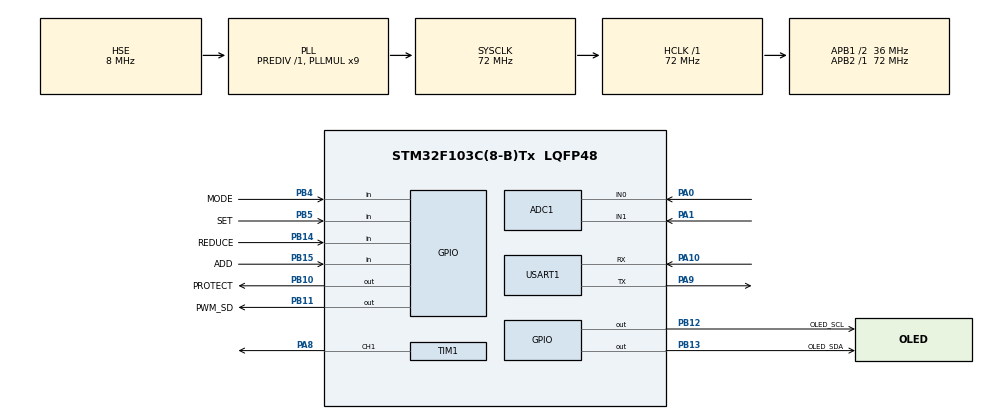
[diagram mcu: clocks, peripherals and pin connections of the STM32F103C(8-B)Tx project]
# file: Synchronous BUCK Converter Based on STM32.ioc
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ADC1.Channel-0\#ChannelRegularConversion=ADC_CHANNEL_0
ADC1.Channel-1\#ChannelRegularConversion=ADC_CHANNEL_1
ADC1.ContinuousConvMode=ENABLE
ADC1.DataAlign=ADC_DATAALIGN_RIGHT
ADC1.NbrOfConversion=2
ADC1.NbrOfConversionFlag=1
ADC1.Rank-0\#ChannelRegularConversion=1
ADC1.Rank-1\#ChannelRegularConversion=2
ADC1.SamplingTime-0\#ChannelRegularConversion=ADC_SAMPLETIME_239CYCLES_5
ADC1.SamplingTime-1\#ChannelRegularConversion=ADC_SAMPLETIME_239CYCLES_5
ADC1.master=1
Dma.ADC1.0.Direction=DMA_PERIPH_TO_MEMORY
Dma.ADC1.0.Instance=DMA1_Channel1
Dma.ADC1.0.MemDataAlignment=DMA_MDATAALIGN_HALFWORD
Dma.ADC1.0.MemInc=DMA_MINC_ENABLE
Dma.ADC1.0.Mode=DMA_CIRCULAR
Dma.ADC1.0.PeriphDataAlignment=DMA_PDATAALIGN_HALFWORD
Dma.ADC1.0.PeriphInc=DMA_PINC_DISABLE
Dma.ADC1.0.Priority=DMA_PRIORITY_HIGH
Dma.Request0=ADC1
Mcu.Family=STM32F1
Mcu.Name=STM32F103C(8-B)Tx
Mcu.Package=LQFP48
NVIC.DMA1_Channel1_IRQn=true\:0\:0\:false\:false\:true\:false\:true\:true
NVIC.PriorityGroup=NVIC_PRIORITYGROUP_4
NVIC.TIM1_UP_IRQn=true\:1\:0\:true\:false\:true\:true\:true\:true
PA0-WKUP.Signal=ADCx_IN0
PA1.Signal=ADCx_IN1
PA10.Mode=Asynchronous
PA10.Signal=USART1_RX
PA13.Mode=Serial_Wire
PA13.Signal=SYS_JTMS-SWDIO
PA14.Mode=Serial_Wire
PA14.Signal=SYS_JTCK-SWCLK
PA8.Signal=S_TIM1_CH1
PA9.Mode=Asynchronous
PA9.Signal=USART1_TX
PB10.GPIO_Label=PROTECT
PB10.Signal=GPIO_Output
PB11.GPIO_Label=PWM_SD
PB11.PinState=GPIO_PIN_RESET
PB11.Signal=GPIO_Output
PB12.GPIO_Label=OLED_SCL
PB12.GPIO_ModeDefaultOutputPP=GPIO_MODE_OUTPUT_OD
PB12.GPIO_PuPd=GPIO_PULLUP
PB12.Signal=GPIO_Output
PB13.GPIO_Label=OLED_SDA
PB13.GPIO_ModeDefaultOutputPP=GPIO_MODE_OUTPUT_OD
PB13.GPIO_PuPd=GPIO_PULLUP
PB13.Signal=GPIO_Output
PB14.GPIO_Label=REDUCE
PB14.GPIO_PuPd=GPIO_PULLUP
PB14.Signal=GPIO_Input
PB15.GPIO_Label=ADD
PB15.GPIO_PuPd=GPIO_PULLUP
PB15.Signal=GPIO_Input
PB4.GPIO_Label=MODE
PB4.GPIO_PuPd=GPIO_PULLUP
PB4.Signal=GPIO_Input
PB5.GPIO_Label=SET
PB5.GPIO_PuPd=GPIO_PULLUP
PB5.Signal=GPIO_Input
PD0-OSC_IN.Mode=HSE-External-Oscillator
PD0-OSC_IN.Signal=RCC_OSC_IN
PD1-OSC_OUT.Mode=HSE-External-Oscillator
PD1-OSC_OUT.Signal=RCC_OSC_OUT
ProjectManager.HeapSize=0x200
ProjectManager.StackSize=0x400
ProjectManager.TargetToolchain=MDK-ARM V5.32
RCC.ADCPresc=RCC_ADCPCLK2_DIV6
RCC.AHBFreq_Value=72000000
RCC.APB1CLKDivider=RCC_HCLK_DIV2
RCC.APB1Freq_Value=36000000
RCC.APB1TimFreq_Value=72000000
RCC.APB2Freq_Value=72000000
RCC.APB2TimFreq_Value=72000000
RCC.HCLKFreq_Value=72000000
RCC.PLLMUL=RCC_PLL_MUL9
RCC.PLLSourceVirtual=RCC_PLLSOURCE_HSE
RCC.SYSCLKFreq_VALUE=72000000
RCC.SYSCLKSource=RCC_SYSCLKSOURCE_PLLCLK
RCC.USBFreq_Value=72000000
SH.ADCx_IN0.0=ADC1_IN0,IN0
SH.ADCx_IN1.0=ADC1_IN1,IN1
SH.S_TIM1_CH1.0=TIM1_CH1,PWM Generation1 CH1
TIM1.AutoReloadPreload=TIM_AUTORELOAD_PRELOAD_ENABLE
TIM1.AutomaticOutput=TIM_AUTOMATICOUTPUT_DISABLE
TIM1.BreakState=TIM_BREAK_DISABLE
TIM1.Channel-PWM\ Generation1\ CH1=TIM_CHANNEL_1
TIM1.Period=3600-1
USART1.VirtualMode=VM_ASYNC
board=custom

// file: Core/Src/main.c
/* USER CODE BEGIN Header */
/**
  ******************************************************************************
  * @file           : main.c
  * @brief          : Main program body
  ******************************************************************************
  * @attention
  *
  * Copyright (c) 2026 STMicroelectronics.
  * All rights reserved.
  *
  * This software is licensed under terms that can be found in the LICENSE file
  * in the root directory of this software component.
  * If no LICENSE file comes with this software, it is provided AS-IS.
  *
  ******************************************************************************
  */
/* USER CODE END Header */
#include "main.h"

/* USER CODE BEGIN Includes */
#include <stdio.h>
#include "button.h"
#include "uart.h"
#include "oled.h"
#include "pid.h"
#include "measure.h"
/* USER CODE END Includes */

/* USER CODE BEGIN PD */

#define VIN_MAX 24.0f//输入电压最大值
#define VOUT_MAX (VIN_MAX*0.95f)//输出电压最大值
#define VOUT_MIN 0.0f//输出电压最小值
#define IOUT_TRIP 0.8f//输出电流跳闸阈值
#define PWM_ARR 3599U//ARR的值
#define PWM_CCR_MAX ((uint16_t)(PWM_ARR * 0.95f))//CCR的最大值。

/* USER CODE END PD */

ADC_HandleTypeDef hadc1;
DMA_HandleTypeDef hdma_adc1;

TIM_HandleTypeDef htim1;

UART_HandleTypeDef huart1;

/* USER CODE BEGIN PV */
//volatile 单词意思为易变的，让系统不要随意优化他，注意他时刻会变。
volatile uint16_t adc_buf[2] = {0};//定义一个全局变量：存放两个十六位的采样数据，一个电流一个电压。
volatile float vout = 0.0f;//定义输出电压。
volatile float iout = 0.0f;//定义输出电流。
volatile float vout_avg = 0.0f;//输出平均电压（最近10帧平均，供OLED显示）
volatile float iout_avg = 0.0f;//输出平均电流（最近10帧平均，供OLED显示）
static volatile float vout_sum = 0.0f;//ADC回调里vout的累计和，OLED刷新取平均后清零
static volatile float iout_sum = 0.0f;//ADC回调里iout的累计和，OLED刷新取平均后清零
static volatile uint32_t vout_cnt = 0;//本次OLED帧内vout采样次数
static volatile uint32_t iout_cnt = 0;//本次OLED帧内iout采样次数
volatile float v_ref = 0.0f;//定义目标电压。
volatile float v_preref = 0.0f;//定义预设目标电压。
volatile float v_ref_ramp = 0.0f;//斜坡目标值：启动时从0逐步爬到v_ref，实现软启动
volatile uint16_t pwm_ccr = 0;//定义PWM。
volatile uint8_t sys_state = 0;//系统状态：0=待机冷态(继电器断开驱动关断) 1=正常输出 2=过流锁存
PID_Handle v_pid;   //电压环PID实例
volatile uint8_t pid_enable = 0;//PID使能：1=运行(正常输出态)，0=不运行(待机/锁存)

/* USER CODE END PV */

void SystemClock_Config(void);
static void MX_GPIO_Init(void);
static void MX_DMA_Init(void);
static void MX_ADC1_Init(void);
static void MX_TIM1_Init(void);
static void MX_USART1_UART_Init(void);

int main(void)
{

  /* MCU Configuration--------------------------------------------------------*/

  /* Reset of all peripherals, Initializes the Flash interface and the Systick. */
  HAL_Init();

  /* Configure the system clock */
  SystemClock_Config();

  /* Initialize all configured peripherals */
  MX_GPIO_Init();
  MX_DMA_Init();
  MX_ADC1_Init();
  MX_TIM1_Init();
  MX_USART1_UART_Init();
  /* USER CODE BEGIN 2 */

  /* 初始化电压环PID：kp=0.01 ki=1 单次增量限幅5 输出0~PWM_CCR_MAX（初值，实测再调） */
  PID_Init(&v_pid, 0.01f, 1.0f, 0.0f, 5, PWM_CCR_MAX, 0);

  HAL_ADC_Start_DMA (&hadc1,(uint32_t *)adc_buf,2);//开启DMA，每次搬两个数据到adc_buf存储。
  HAL_TIM_PWM_Start (&htim1,TIM_CHANNEL_1);//开启PWM。

  /* TIM1更新中断已在CubeMX的NVIC里使能，这里只需启动更新中断事件 */
  HAL_TIM_Base_Start_IT(&htim1);

  OLED_Init();//初始化OLED

  /* USER CODE END 2 */

  /* Infinite loop */
  while (1)
  {

    /* USER CODE BEGIN 3 */
    if (sys_state == 0)//待机冷态，按MODE启动输出(接通继电器+使能驱动)
    {
      if (Button_IsClicked(MODE_GPIO_Port, MODE_Pin))
      {
        sys_state = 1;//把系统设置为正常输出
        pid_enable = 1;   // 启动PID电压环
        v_ref_ramp = 0.0f;   // 软启动：斜坡目标从0开始
        pwm_ccr = 0;   // 软启动：占空比强制从0开始，由PID逐周期爬升，避免上电大电流冲击
        PID_Reset(&v_pid);   // 清零PID内部输出/误差，软启动真正从0爬升
        HAL_GPIO_WritePin (PWM_SD_GPIO_Port,PWM_SD_Pin,GPIO_PIN_SET);//恢复IR2104使能
        HAL_GPIO_WritePin (PROTECT_GPIO_Port,PROTECT_Pin,GPIO_PIN_SET);//继电器吸合，接通输入
      }
    }
    else if (sys_state == 2)//过流锁存态，按MODE复位重启(清零电压后重新启动)
    {
      if (Button_IsClicked(MODE_GPIO_Port, MODE_Pin))
      {
        sys_state = 1;
        pid_enable = 1;   // 复位后重启PID
        v_ref_ramp = 0.0f;   // 软启动：斜坡目标从0开始
        v_preref = 0.0f;
        v_ref = 0.0f;
        PID_Reset(&v_pid);   // 彻底清零PID内部输出/误差，软启动真正从0爬升
        pwm_ccr = 0;   // 软启动：复位后占空比同样从0爬升，防止带故障值瞬间重载
        HAL_GPIO_WritePin (PWM_SD_GPIO_Port,PWM_SD_Pin,GPIO_PIN_SET);//恢复IR2104使能
        HAL_GPIO_WritePin (PROTECT_GPIO_Port,PROTECT_Pin,GPIO_PIN_SET);//继电器重新吸合
      }
    }
    else if (sys_state == 1)//正常输出态
    {
      //MODE短按停机：回到待机冷态（拉低SD停驱动 + 断开继电器）
      if (Button_IsClicked(MODE_GPIO_Port, MODE_Pin))
      {
        sys_state = 0;
        pid_enable = 0;   // 停PID
        v_ref_ramp = 0.0f;   // 软启动：斜坡目标从0开始
        v_preref = 0.0f;
        v_ref = 0.0f;
        PID_Reset(&v_pid);   // 清零PID内部输出/误差。
        HAL_GPIO_WritePin (PWM_SD_GPIO_Port,PWM_SD_Pin,GPIO_PIN_RESET);//拉低IR2104的SD，停驱动
        HAL_GPIO_WritePin (PROTECT_GPIO_Port,PROTECT_Pin,GPIO_PIN_RESET);//断开继电器，切断输入
        pwm_ccr=0;
        __HAL_TIM_SET_COMPARE (&htim1,TIM_CHANNEL_1,pwm_ccr);//写死PWM输出为0
      }
      //按钮检测动作：ADD/REDUCE长按可连续调压，SET短按确认
      if (Button_IsPressed(ADD_GPIO_Port, ADD_Pin))
      {
        v_preref +=0.1f;
      }
      if (Button_IsPressed(REDUCE_GPIO_Port, REDUCE_Pin))
      {
        v_preref -=0.1f;
      }
      if (Button_IsClicked(SET_GPIO_Port, SET_Pin))
      {
        v_ref = v_preref;
      }
      //输出和预输出限幅
      if (v_preref > VOUT_MAX)
      {
        v_preref = VOUT_MAX;
      }
      if (v_preref < VOUT_MIN)
      {
        v_preref = VOUT_MIN;
      }
      if (v_ref > VOUT_MAX)
      {
        v_ref = VOUT_MAX;
      }
      if (v_ref < VOUT_MIN)
      {
        v_ref = VOUT_MIN;
      }
    }
    //VOFA+ JustFloat 实时波形：每20ms发一帧 vout/iout（50Hz，阻塞发送12字节约1ms，主循环里安全）
    static uint32_t t_vofa = 0;
    if (HAL_GetTick() - t_vofa >= 20)
    {
      t_vofa = HAL_GetTick();
      float data[2] = {vout, iout};
      uart_send_vofa(data, 2);
    }

    //OLED 显示：每100ms刷一次屏（10Hz，软件I2C较慢，与VOFA分开跑避免主循环卡顿）
    static uint32_t t_oled = 0;
    if (HAL_GetTick() - t_oled >= 100)
    {
      t_oled = HAL_GetTick();
      /* 系统状态显示：0=待机 1=正常输出 2=过流锁存 */
      switch (sys_state)
      {
        case 0: OLED_ShowString(0, 1, "STANDBY   "); break;
        case 1: OLED_ShowString(0, 1, "RUNNING   "); break;
        case 2: OLED_ShowString(0, 1, "FAULT!    "); break;
        default: break;
      }
      OLED_ShowString(0, 0, "BUCK 20kHz");
      /* 本帧累计平均存进最近10帧缓冲，显示的是10帧均值（约1秒平滑窗口） */
      static float vout_frame[10] = {0};
      static float iout_frame[10] = {0};
      static uint8_t vout_fidx = 0;
      static uint8_t iout_fidx = 0;
      static uint8_t vout_fcnt = 0;
      static uint8_t iout_fcnt = 0;
      if (vout_cnt > 0)
      {
        vout_frame[vout_fidx] = vout_sum / vout_cnt;
        vout_sum = 0.0f;
        vout_cnt = 0;
        vout_fidx = (uint8_t)((vout_fidx + 1) % 10);
        if (vout_fcnt < 10) vout_fcnt++;
        float vout_ftotal = 0.0f;
        for (uint8_t i = 0; i < vout_fcnt; i++) vout_ftotal += vout_frame[i];
        vout_avg = vout_ftotal / vout_fcnt;
      }
      if (iout_cnt > 0)
      {
        iout_frame[iout_fidx] = iout_sum / iout_cnt;
        iout_sum = 0.0f;
        iout_cnt = 0;
        iout_fidx = (uint8_t)((iout_fidx + 1) % 10);
        if (iout_fcnt < 10) iout_fcnt++;
        float iout_ftotal = 0.0f;
        for (uint8_t i = 0; i < iout_fcnt; i++) iout_ftotal += iout_frame[i];
        iout_avg = iout_ftotal / iout_fcnt;
      }
      OLED_ShowString(0, 2, "Vout:");
      OLED_ShowDecimal(6, 2, vout_avg, 2, 2);     // 实际输出电压（最近10帧平均）
      OLED_ShowString(0, 3, "Iout:");
      OLED_ShowDecimal(6, 3, iout_avg, 2, 2);     // 实际输出电流（最近10帧平均）
      OLED_ShowString(0, 4, "Ramp:");
      OLED_ShowDecimal(6, 4, v_ref_ramp, 2, 2); // 动态目标(PID实际追踪的斜坡值)
      OLED_ShowString(0, 5, "Pre :");
      OLED_ShowDecimal(6, 5, v_preref, 2, 2); // 预设电压(ADD/REDUCE调这个)

      OLED_Update();
    }
  }
  /* USER CODE END 3 */
}

void SystemClock_Config(void)
{
  RCC_OscInitTypeDef RCC_OscInitStruct = {0};
  RCC_ClkInitTypeDef RCC_ClkInitStruct = {0};
  RCC_PeriphCLKInitTypeDef PeriphClkInit = {0};

  /** Initializes the RCC Oscillators according to the specified parameters
  * in the RCC_OscInitTypeDef structure.
  */
  RCC_OscInitStruct.OscillatorType = RCC_OSCILLATORTYPE_HSE;
  RCC_OscInitStruct.HSEState = RCC_HSE_ON;
  RCC_OscInitStruct.HSEPredivValue = RCC_HSE_PREDIV_DIV1;
  RCC_OscInitStruct.HSIState = RCC_HSI_ON;
  RCC_OscInitStruct.PLL.PLLState = RCC_PLL_ON;
  RCC_OscInitStruct.PLL.PLLSource = RCC_PLLSOURCE_HSE;
  RCC_OscInitStruct.PLL.PLLMUL = RCC_PLL_MUL9;
  if (HAL_RCC_OscConfig(&RCC_OscInitStruct) != HAL_OK)
  {
    Error_Handler();
  }

  /** Initializes the CPU, AHB and APB buses clocks
  */
  RCC_ClkInitStruct.ClockType = RCC_CLOCKTYPE_HCLK|RCC_CLOCKTYPE_SYSCLK
                              |RCC_CLOCKTYPE_PCLK1|RCC_CLOCKTYPE_PCLK2;
  RCC_ClkInitStruct.SYSCLKSource = RCC_SYSCLKSOURCE_PLLCLK;
  RCC_ClkInitStruct.AHBCLKDivider = RCC_SYSCLK_DIV1;
  RCC_ClkInitStruct.APB1CLKDivider = RCC_HCLK_DIV2;
  RCC_ClkInitStruct.APB2CLKDivider = RCC_HCLK_DIV1;

  if (HAL_RCC_ClockConfig(&RCC_ClkInitStruct, FLASH_LATENCY_2) != HAL_OK)
  {
    Error_Handler();
  }
  PeriphClkInit.PeriphClockSelection = RCC_PERIPHCLK_ADC;
  PeriphClkInit.AdcClockSelection = RCC_ADCPCLK2_DIV6;
  if (HAL_RCCEx_PeriphCLKConfig(&PeriphClkInit) != HAL_OK)
  {
    Error_Handler();
  }
}

static void MX_ADC1_Init(void)
{

  ADC_ChannelConfTypeDef sConfig = {0};

  /** Common config
  */
  hadc1.Instance = ADC1;
  hadc1.Init.ScanConvMode = ADC_SCAN_ENABLE;
  hadc1.Init.ContinuousConvMode = ENABLE;
  hadc1.Init.DiscontinuousConvMode = DISABLE;
  hadc1.Init.ExternalTrigConv = ADC_SOFTWARE_START;
  hadc1.Init.DataAlign = ADC_DATAALIGN_RIGHT;
  hadc1.Init.NbrOfConversion = 2;
  if (HAL_ADC_Init(&hadc1) != HAL_OK)
  {
    Error_Handler();
  }

  /** Configure Regular Channel
  */
  sConfig.Channel = ADC_CHANNEL_0;
  sConfig.Rank = ADC_REGULAR_RANK_1;
  sConfig.SamplingTime = ADC_SAMPLETIME_239CYCLES_5;
  if (HAL_ADC_ConfigChannel(&hadc1, &sConfig) != HAL_OK)
  {
    Error_Handler();
  }

  /** Configure Regular Channel
  */
  sConfig.Channel = ADC_CHANNEL_1;
  sConfig.Rank = ADC_REGULAR_RANK_2;
  if (HAL_ADC_ConfigChannel(&hadc1, &sConfig) != HAL_OK)
  {
    Error_Handler();
  }

}

static void MX_TIM1_Init(void)
{

  TIM_MasterConfigTypeDef sMasterConfig = {0};
  TIM_OC_InitTypeDef sConfigOC = {0};
  TIM_BreakDeadTimeConfigTypeDef sBreakDeadTimeConfig = {0};

  htim1.Instance = TIM1;
  htim1.Init.Prescaler = 0;
  htim1.Init.CounterMode = TIM_COUNTERMODE_UP;
  htim1.Init.Period = 3600-1;
  htim1.Init.ClockDivision = TIM_CLOCKDIVISION_DIV1;
  htim1.Init.RepetitionCounter = 0;
  htim1.Init.AutoReloadPreload = TIM_AUTORELOAD_PRELOAD_ENABLE;
  if (HAL_TIM_PWM_Init(&htim1) != HAL_OK)
  {
    Error_Handler();
  }
  sMasterConfig.MasterOutputTrigger = TIM_TRGO_RESET;
  sMasterConfig.MasterSlaveMode = TIM_MASTERSLAVEMODE_DISABLE;
  if (HAL_TIMEx_MasterConfigSynchronization(&htim1, &sMasterConfig) != HAL_OK)
  {
    Error_Handler();
  }
  sConfigOC.OCMode = TIM_OCMODE_PWM1;
  sConfigOC.Pulse = 0;
  sConfigOC.OCPolarity = TIM_OCPOLARITY_HIGH;
  sConfigOC.OCNPolarity = TIM_OCNPOLARITY_HIGH;
  sConfigOC.OCFastMode = TIM_OCFAST_DISABLE;
  sConfigOC.OCIdleState = TIM_OCIDLESTATE_RESET;
  sConfigOC.OCNIdleState = TIM_OCNIDLESTATE_RESET;
  if (HAL_TIM_PWM_ConfigChannel(&htim1, &sConfigOC, TIM_CHANNEL_1) != HAL_OK)
  {
    Error_Handler();
  }
  sBreakDeadTimeConfig.OffStateRunMode = TIM_OSSR_DISABLE;
  sBreakDeadTimeConfig.OffStateIDLEMode = TIM_OSSI_DISABLE;
  sBreakDeadTimeConfig.LockLevel = TIM_LOCKLEVEL_OFF;
  sBreakDeadTimeConfig.DeadTime = 0;
  sBreakDeadTimeConfig.BreakState = TIM_BREAK_DISABLE;
  sBreakDeadTimeConfig.BreakPolarity = TIM_BREAKPOLARITY_HIGH;
  sBreakDeadTimeConfig.AutomaticOutput = TIM_AUTOMATICOUTPUT_DISABLE;
  if (HAL_TIMEx_ConfigBreakDeadTime(&htim1, &sBreakDeadTimeConfig) != HAL_OK)
  {
    Error_Handler();
  }
  HAL_TIM_MspPostInit(&htim1);

}

static void MX_USART1_UART_Init(void)
{

  huart1.Instance = USART1;
  huart1.Init.BaudRate = 115200;
  huart1.Init.WordLength = UART_WORDLENGTH_8B;
  huart1.Init.StopBits = UART_STOPBITS_1;
  huart1.Init.Parity = UART_PARITY_NONE;
  huart1.Init.Mode = UART_MODE_TX_RX;
  huart1.Init.HwFlowCtl = UART_HWCONTROL_NONE;
  huart1.Init.OverSampling = UART_OVERSAMPLING_16;
  if (HAL_UART_Init(&huart1) != HAL_OK)
  {
    Error_Handler();
  }

}

static void MX_DMA_Init(void)
{

  /* DMA controller clock enable */
  __HAL_RCC_DMA1_CLK_ENABLE();

  /* DMA interrupt init */
  /* DMA1_Channel1_IRQn interrupt configuration */
  HAL_NVIC_SetPriority(DMA1_Channel1_IRQn, 0, 0);
  HAL_NVIC_EnableIRQ(DMA1_Channel1_IRQn);

}

static void MX_GPIO_Init(void)
{
  GPIO_InitTypeDef GPIO_InitStruct = {0};

  /* GPIO Ports Clock Enable */
  __HAL_RCC_GPIOD_CLK_ENABLE();
  __HAL_RCC_GPIOA_CLK_ENABLE();
  __HAL_RCC_GPIOB_CLK_ENABLE();

  /*Configure GPIO pin Output Level */
  HAL_GPIO_WritePin(GPIOB, PROTECT_Pin|PWM_SD_Pin|OLED_SCL_Pin|OLED_SDA_Pin, GPIO_PIN_RESET);

  /*Configure GPIO pins : PROTECT_Pin PWM_SD_Pin */
  GPIO_InitStruct.Pin = PROTECT_Pin|PWM_SD_Pin;
  GPIO_InitStruct.Mode = GPIO_MODE_OUTPUT_PP;
  GPIO_InitStruct.Pull = GPIO_NOPULL;
  GPIO_InitStruct.Speed = GPIO_SPEED_FREQ_LOW;
  HAL_GPIO_Init(GPIOB, &GPIO_InitStruct);

  /*Configure GPIO pins : OLED_SCL_Pin OLED_SDA_Pin */
  GPIO_InitStruct.Pin = OLED_SCL_Pin|OLED_SDA_Pin;
  GPIO_InitStruct.Mode = GPIO_MODE_OUTPUT_OD;
  GPIO_InitStruct.Pull = GPIO_PULLUP;
  GPIO_InitStruct.Speed = GPIO_SPEED_FREQ_LOW;
  HAL_GPIO_Init(GPIOB, &GPIO_InitStruct);

  /*Configure GPIO pins : REDUCE_Pin ADD_Pin MODE_Pin SET_Pin */
  GPIO_InitStruct.Pin = REDUCE_Pin|ADD_Pin|MODE_Pin|SET_Pin;
  GPIO_InitStruct.Mode = GPIO_MODE_INPUT;
  GPIO_InitStruct.Pull = GPIO_PULLUP;
  HAL_GPIO_Init(GPIOB, &GPIO_InitStruct);

}

/* USER CODE BEGIN 4 */
  void HAL_ADC_ConvCpltCallback (ADC_HandleTypeDef *hadc)//ADC回调函数，中断之后自动调用此函数。
  {
    if(hadc->Instance==ADC1)//如果触发中断的是ADC1
    {
      iout = measure_current(adc_buf[0]);//ADC码值 → 实际输出电流(A)
      vout = measure_voltage(adc_buf[1]);//ADC码值 → 实际输出电压(V)
      /* 两帧OLED之间累计取平均：ADC回调只累加，OLED刷新时求平均并清零 */
      vout_sum += vout;
      vout_cnt++;
      iout_sum += iout;
      iout_cnt++;
      if (iout>=IOUT_TRIP)
      {
        if (sys_state == 1)//只在正常输出态触发过流锁存，只触发一次
        {
          sys_state = 2;
          pid_enable = 0;
          HAL_GPIO_WritePin (PWM_SD_GPIO_Port,PWM_SD_Pin,GPIO_PIN_RESET);//拉低IR2104的SD，立即停驱动
          HAL_GPIO_WritePin (PROTECT_GPIO_Port,PROTECT_Pin,GPIO_PIN_RESET);//断开继电器，切断输入电源
          PID_Reset(&v_pid);   // 清零PID内部输出/误差
          pwm_ccr=0;
          v_preref=0.0f;
          v_ref=0.0f;
          v_ref_ramp=0.0f;
          __HAL_TIM_SET_COMPARE (&htim1,TIM_CHANNEL_1,pwm_ccr);//写死PWM输出为0
        }
      }
    }
  }

  /* TIM1更新中断调用：每20个PWM周期(1ms)执行一次PID电压环 */
  void Pid_Tick_1ms(void)
  {
    static uint16_t pid_count = 0;
    pid_count++;
    if (pid_count < 20) return;        /* 20kHz / 20 = 1kHz，即每1ms调一次 */
    pid_count = 0;

    if (pid_enable == 1 && sys_state == 1)   /* 正常输出态才跑PID */
    {
      /* 软启动斜坡：目标电压从0逐步爬到v_ref（升压），
       * 也支持向下跟踪（降压），约1秒变化12V(0.012V/ms)，
       * 让PID追一个平滑变化的目标，避免电压突变猛冲 */
      if (v_ref_ramp < v_ref)
      {
        v_ref_ramp += 0.005f;
        if (v_ref_ramp > v_ref) v_ref_ramp = v_ref;   /* 到顶锁定 */
      }
      else if (v_ref_ramp > v_ref)
      {
        v_ref_ramp -= 0.005f;
        if (v_ref_ramp < v_ref) v_ref_ramp = v_ref;   /* 到底锁定 */
      }

      pwm_ccr = (uint16_t)PID_Update(&v_pid, v_ref_ramp, vout);
      __HAL_TIM_SET_COMPARE (&htim1,TIM_CHANNEL_1,pwm_ccr);
    }
  }
/* USER CODE END 4 */

void Error_Handler(void)
{
  __disable_irq();
  while (1)
  {
  }
}
